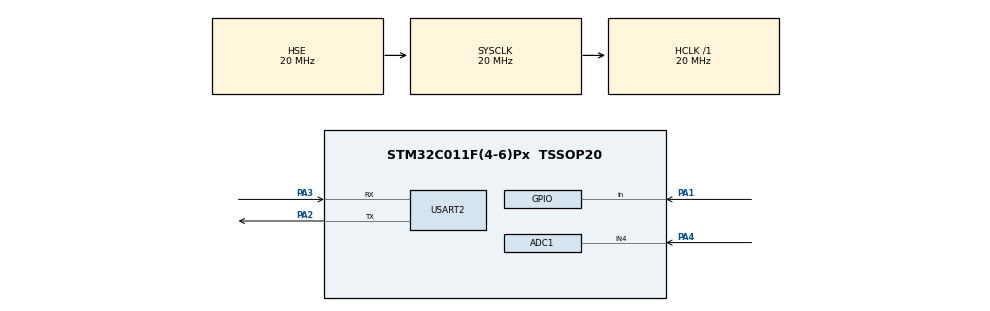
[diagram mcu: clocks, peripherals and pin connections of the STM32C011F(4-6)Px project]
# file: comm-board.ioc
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ADC1.ClockPrescaler=ADC_CLOCK_SYNC_PCLK_DIV4
ADC1.NbrOfConversionFlag=0
ADC1.SelectedChannel=ADC_CHANNEL_4
ADC1.master=1
Dma.Request0=USART2_RX
Dma.Request1=USART2_TX
Dma.USART2_RX.0.Direction=DMA_PERIPH_TO_MEMORY
Dma.USART2_RX.0.EventEnable=DISABLE
Dma.USART2_RX.0.Instance=DMA1_Channel1
Dma.USART2_RX.0.MemDataAlignment=DMA_MDATAALIGN_BYTE
Dma.USART2_RX.0.MemInc=DMA_MINC_ENABLE
Dma.USART2_RX.0.Mode=DMA_CIRCULAR
Dma.USART2_RX.0.PeriphDataAlignment=DMA_PDATAALIGN_BYTE
Dma.USART2_RX.0.PeriphInc=DMA_PINC_DISABLE
Dma.USART2_RX.0.Polarity=HAL_DMAMUX_REQ_GEN_RISING
Dma.USART2_RX.0.Priority=DMA_PRIORITY_LOW
Dma.USART2_RX.0.RequestNumber=1
Dma.USART2_RX.0.SignalID=NONE
Dma.USART2_RX.0.SyncEnable=DISABLE
Dma.USART2_RX.0.SyncPolarity=HAL_DMAMUX_SYNC_NO_EVENT
Dma.USART2_RX.0.SyncRequestNumber=1
Dma.USART2_RX.0.SyncSignalID=NONE
Dma.USART2_TX.1.Direction=DMA_MEMORY_TO_PERIPH
Dma.USART2_TX.1.EventEnable=DISABLE
Dma.USART2_TX.1.Instance=DMA1_Channel2
Dma.USART2_TX.1.MemDataAlignment=DMA_MDATAALIGN_BYTE
Dma.USART2_TX.1.MemInc=DMA_MINC_ENABLE
Dma.USART2_TX.1.Mode=DMA_NORMAL
Dma.USART2_TX.1.PeriphDataAlignment=DMA_PDATAALIGN_BYTE
Dma.USART2_TX.1.PeriphInc=DMA_PINC_DISABLE
Dma.USART2_TX.1.Polarity=HAL_DMAMUX_REQ_GEN_RISING
Dma.USART2_TX.1.Priority=DMA_PRIORITY_LOW
Dma.USART2_TX.1.RequestNumber=1
Dma.USART2_TX.1.SignalID=NONE
Dma.USART2_TX.1.SyncEnable=DISABLE
Dma.USART2_TX.1.SyncPolarity=HAL_DMAMUX_SYNC_NO_EVENT
Dma.USART2_TX.1.SyncRequestNumber=1
Dma.USART2_TX.1.SyncSignalID=NONE
Mcu.Family=STM32C0
Mcu.Name=STM32C011F(4-6)Px
Mcu.Package=TSSOP20
NVIC.DMA1_Channel1_IRQn=true\:0\:0\:false\:false\:true\:false\:true\:true
NVIC.DMA1_Channel2_3_IRQn=true\:0\:0\:false\:false\:true\:false\:true\:true
NVIC.TIM14_IRQn=true\:0\:0\:false\:false\:true\:true\:true\:true
NVIC.USART2_IRQn=true\:0\:0\:false\:false\:true\:true\:true\:true
PA1.Signal=GPIO_Input
PA2.GPIO_ModeDefaultPP=GPIO_MODE_AF_PP
PA2.Mode=Asynchronous
PA2.Signal=USART2_TX
PA3.Mode=Asynchronous
PA3.Signal=USART2_RX
PA4.Mode=IN4
PA4.Signal=ADC1_IN4
PC14-OSCX_IN\ (PC14).Mode=HSE-External-Oscillator-REMAPPED
PC14-OSCX_IN\ (PC14).Signal=RCC_OSCX_IN
PC15-OSCX_OUT\ (PC15).Mode=HSE-External-Oscillator-REMAPPED
PC15-OSCX_OUT\ (PC15).Signal=RCC_OSCX_OUT
ProjectManager.HeapSize=0x200
ProjectManager.StackSize=0x400
ProjectManager.TargetToolchain=STM32CubeIDE
RCC.ADCFreq_Value=20000000
RCC.AHBFreq_Value=20000000
RCC.CortexFreq_Value=20000000
RCC.EXTERNAL_CLOCK_VALUE=12288000
RCC.HCLKFreq_Value=20000000
RCC.HSE_VALUE=20000000
RCC.HSI_VALUE=48000000
RCC.LSE_VALUE=32768
RCC.SYSCLKFreq_VALUE=20000000
RCC.SYSCLKSource=RCC_SYSCLKSOURCE_HSE
TIM14.ClockDivision=TIM_CLOCKDIVISION_DIV1
TIM14.Prescaler=19999
USART2.VirtualMode-Asynchronous=VM_ASYNC
VP_TIM14_VS_ClockSourceINT.Mode=Enable_Timer
board=custom

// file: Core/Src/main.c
/* USER CODE BEGIN Header */
/**
  ******************************************************************************
  * @file           : main.c
  * @brief          : Main program body
  ******************************************************************************
  * @attention
  *
  * Copyright (c) 2026 STMicroelectronics.
  * All rights reserved.
  *
  * This software is licensed under terms that can be found in the LICENSE file
  * in the root directory of this software component.
  * If no LICENSE file comes with this software, it is provided AS-IS.
  *
  ******************************************************************************
  */
/* USER CODE END Header */
#include "main.h"

/* USER CODE BEGIN Includes */
#include <stdio.h>
/* USER CODE END Includes */

ADC_HandleTypeDef hadc1;

TIM_HandleTypeDef htim14;

UART_HandleTypeDef huart2;
DMA_HandleTypeDef hdma_usart2_rx;
DMA_HandleTypeDef hdma_usart2_tx;

void SystemClock_Config(void);
static void MX_GPIO_Init(void);
static void MX_DMA_Init(void);
static void MX_ADC1_Init(void);
static void MX_TIM14_Init(void);
static void MX_USART2_UART_Init(void);

/* USER CODE BEGIN 0 */

static volatile int called = 0;
static volatile int calledRx = 0;
static volatile HAL_StatusTypeDef lastR = 0;
static uint8_t buf[] = "Test 0\r\n";
static uint8_t rxBuffer[64];
extern int timCnt;

void HAL_UART_TxCpltCallback(UART_HandleTypeDef *huart)
{
	called++;
	buf[5]++;
	if (buf[5] == '~') buf[5] = '0';
	lastR = HAL_UART_Transmit_DMA(&huart2, buf, sizeof(buf) - 1);
}

#if 0
void HAL_UART_RxCpltCallback(UART_HandleTypeDef *huart)
{
	calledRx++;
}

void HAL_UART_RxHalfCpltCallback(UART_HandleTypeDef *huart)
{
	calledRx--;
}
#endif

static inline void uartGPIOMode(GPIO_TypeDef* gpio, uint32_t pin, int gpioMode)
{
  uint32_t mask = 3 << (2 * pin);
  uint32_t mode = (gpioMode ? 1 : 2) << (2 * pin);
  gpio->MODER = (gpio->MODER & ~mask) | mode;
}

/* USER CODE END 0 */

int main(void)
{

  /* USER CODE BEGIN 1 */

  HAL_SetTickFreq(HAL_TICK_FREQ_10HZ);
  extern void initialise_monitor_handles(void);
  initialise_monitor_handles();

  /* USER CODE BEGIN 1 */

  /* USER CODE END 1 */

  /* MCU Configuration--------------------------------------------------------*/

  /* Reset of all peripherals, Initializes the Flash interface and the Systick. */
  HAL_Init();

  /* Configure the system clock */
  SystemClock_Config();

  /* Initialize all configured peripherals */
  MX_GPIO_Init();
  MX_DMA_Init();
  MX_ADC1_Init();
  MX_TIM14_Init();
  MX_USART2_UART_Init();
  /* USER CODE BEGIN 2 */

  HAL_TIM_Base_Start(&htim14);

  lastR = HAL_UART_Transmit_DMA(&huart2, buf, sizeof(buf) - 1);
  //lastR = HAL_UART_Receive_DMA(&huart2, rxBuffer, sizeof(rxBuffer));

  __HAL_TIM_SET_COMPARE(&htim14, TIM_CHANNEL_1, 30000);
  __HAL_TIM_ENABLE_IT(&htim14, TIM_IT_CC1);

  uint32_t mask = 3 << (2 * 2);
  uint32_t mode = 1 << (2 * 2); // output
  GPIOA->BSRR = 1 << 2;
  GPIOA->MODER = (GPIOA->MODER & ~mask) | mode;

  extern void commonMain();
  commonMain();

  /* USER CODE END 2 */

  /* Infinite loop */
  /* USER CODE BEGIN WHILE */
  int cnt0 = 0;
  int cnt1 = 0;
  while (1)
  {
    /* USER CODE END WHILE */

    /* USER CODE BEGIN 3 */
	  //printf("OK %d %d %d %d %d %d\n", (int)lastR, called, calledRx, (int)__HAL_TIM_GET_COUNTER(&htim14), timCnt, __HAL_TIM_GET_FLAG(&htim14, TIM_FLAG_CC1));
    GPIO_PinState state;
	  for (volatile int i = 0; i < 10000; i++) {
      state = HAL_GPIO_ReadPin(GPIOA, GPIO_PIN_3);
      //HAL_GPIO_WritePin(GPIOA, GPIO_PIN_2, 1 - state);
      cnt0 += (1 - (int)state);
      cnt1 += (int)state;
    }
	  printf("a %d %d %d\n", state, cnt0, cnt1);
    //GPIOA->OTYPER ^= 1 << 2;
  }
  /* USER CODE END 3 */
}

void SystemClock_Config(void)
{
  RCC_OscInitTypeDef RCC_OscInitStruct = {0};
  RCC_ClkInitTypeDef RCC_ClkInitStruct = {0};

  __HAL_FLASH_SET_LATENCY(FLASH_LATENCY_0);

  /** Initializes the RCC Oscillators according to the specified parameters
  * in the RCC_OscInitTypeDef structure.
  */
  RCC_OscInitStruct.OscillatorType = RCC_OSCILLATORTYPE_HSE;
  RCC_OscInitStruct.HSEState = RCC_HSE_ON;
  if (HAL_RCC_OscConfig(&RCC_OscInitStruct) != HAL_OK)
  {
    Error_Handler();
  }

  /** Initializes the CPU, AHB and APB buses clocks
  */
  RCC_ClkInitStruct.ClockType = RCC_CLOCKTYPE_HCLK|RCC_CLOCKTYPE_SYSCLK
                              |RCC_CLOCKTYPE_PCLK1;
  RCC_ClkInitStruct.SYSCLKSource = RCC_SYSCLKSOURCE_HSE;
  RCC_ClkInitStruct.SYSCLKDivider = RCC_SYSCLK_DIV1;
  RCC_ClkInitStruct.AHBCLKDivider = RCC_HCLK_DIV1;
  RCC_ClkInitStruct.APB1CLKDivider = RCC_APB1_DIV1;

  if (HAL_RCC_ClockConfig(&RCC_ClkInitStruct, FLASH_LATENCY_0) != HAL_OK)
  {
    Error_Handler();
  }
}

static void MX_ADC1_Init(void)
{

  ADC_ChannelConfTypeDef sConfig = {0};

  /** Configure the global features of the ADC (Clock, Resolution, Data Alignment and number of conversion)
  */
  hadc1.Instance = ADC1;
  hadc1.Init.ClockPrescaler = ADC_CLOCK_SYNC_PCLK_DIV4;
  hadc1.Init.Resolution = ADC_RESOLUTION_12B;
  hadc1.Init.DataAlign = ADC_DATAALIGN_RIGHT;
  hadc1.Init.ScanConvMode = ADC_SCAN_SEQ_FIXED;
  hadc1.Init.EOCSelection = ADC_EOC_SINGLE_CONV;
  hadc1.Init.LowPowerAutoWait = DISABLE;
  hadc1.Init.LowPowerAutoPowerOff = DISABLE;
  hadc1.Init.ContinuousConvMode = DISABLE;
  hadc1.Init.NbrOfConversion = 1;
  hadc1.Init.DiscontinuousConvMode = DISABLE;
  hadc1.Init.ExternalTrigConv = ADC_SOFTWARE_START;
  hadc1.Init.ExternalTrigConvEdge = ADC_EXTERNALTRIGCONVEDGE_NONE;
  hadc1.Init.DMAContinuousRequests = DISABLE;
  hadc1.Init.Overrun = ADC_OVR_DATA_PRESERVED;
  hadc1.Init.SamplingTimeCommon1 = ADC_SAMPLETIME_1CYCLE_5;
  hadc1.Init.OversamplingMode = DISABLE;
  hadc1.Init.TriggerFrequencyMode = ADC_TRIGGER_FREQ_HIGH;
  if (HAL_ADC_Init(&hadc1) != HAL_OK)
  {
    Error_Handler();
  }

  /** Configure Regular Channel
  */
  sConfig.Channel = ADC_CHANNEL_4;
  sConfig.Rank = ADC_RANK_CHANNEL_NUMBER;
  if (HAL_ADC_ConfigChannel(&hadc1, &sConfig) != HAL_OK)
  {
    Error_Handler();
  }

}

static void MX_TIM14_Init(void)
{

  htim14.Instance = TIM14;
  htim14.Init.Prescaler = 19999;
  htim14.Init.CounterMode = TIM_COUNTERMODE_UP;
  htim14.Init.Period = 65535;
  htim14.Init.ClockDivision = TIM_CLOCKDIVISION_DIV1;
  htim14.Init.AutoReloadPreload = TIM_AUTORELOAD_PRELOAD_DISABLE;
  if (HAL_TIM_Base_Init(&htim14) != HAL_OK)
  {
    Error_Handler();
  }

}

static void MX_USART2_UART_Init(void)
{

  huart2.Instance = USART2;
  huart2.Init.BaudRate = 115200;
  huart2.Init.WordLength = UART_WORDLENGTH_8B;
  huart2.Init.StopBits = UART_STOPBITS_1;
  huart2.Init.Parity = UART_PARITY_NONE;
  huart2.Init.Mode = UART_MODE_TX_RX;
  huart2.Init.HwFlowCtl = UART_HWCONTROL_NONE;
  huart2.Init.OverSampling = UART_OVERSAMPLING_16;
  huart2.Init.OneBitSampling = UART_ONE_BIT_SAMPLE_DISABLE;
  huart2.Init.ClockPrescaler = UART_PRESCALER_DIV1;
  huart2.AdvancedInit.AdvFeatureInit = UART_ADVFEATURE_NO_INIT;
  if (HAL_UART_Init(&huart2) != HAL_OK)
  {
    Error_Handler();
  }

}

static void MX_DMA_Init(void)
{

  /* DMA controller clock enable */
  __HAL_RCC_DMA1_CLK_ENABLE();

  /* DMA interrupt init */
  /* DMA1_Channel1_IRQn interrupt configuration */
  HAL_NVIC_SetPriority(DMA1_Channel1_IRQn, 0, 0);
  HAL_NVIC_EnableIRQ(DMA1_Channel1_IRQn);
  /* DMA1_Channel2_3_IRQn interrupt configuration */
  HAL_NVIC_SetPriority(DMA1_Channel2_3_IRQn, 0, 0);
  HAL_NVIC_EnableIRQ(DMA1_Channel2_3_IRQn);

}

static void MX_GPIO_Init(void)
{
  GPIO_InitTypeDef GPIO_InitStruct = {0};

  /* GPIO Ports Clock Enable */
  __HAL_RCC_GPIOC_CLK_ENABLE();
  __HAL_RCC_GPIOA_CLK_ENABLE();

  /*Configure GPIO pin : PA1 */
  GPIO_InitStruct.Pin = GPIO_PIN_1;
  GPIO_InitStruct.Mode = GPIO_MODE_INPUT;
  GPIO_InitStruct.Pull = GPIO_NOPULL;
  HAL_GPIO_Init(GPIOA, &GPIO_InitStruct);

}

void Error_Handler(void)
{
  __disable_irq();
  while (1)
  {
  }
}
